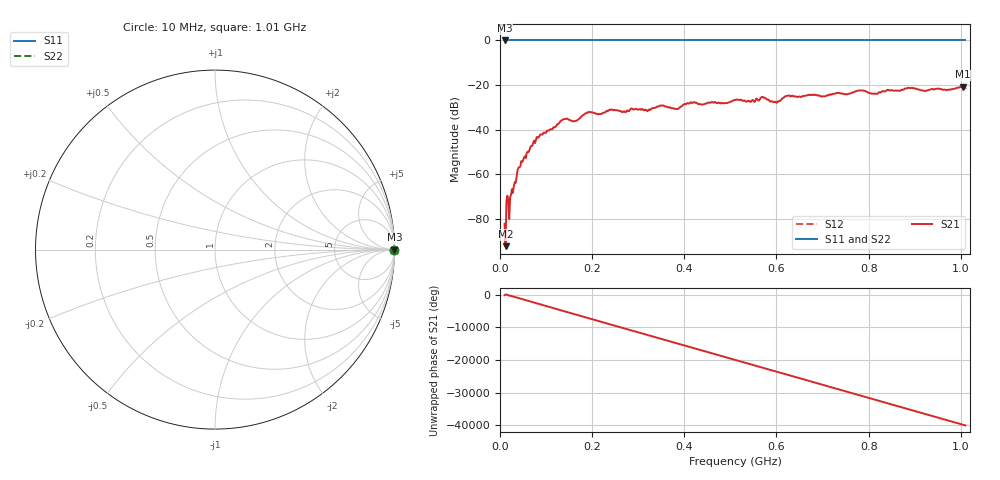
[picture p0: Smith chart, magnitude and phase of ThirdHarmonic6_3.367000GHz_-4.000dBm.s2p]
! 8/17/2025 10:40:04 AM
! C:\ANRITSUVNA\TEMP\TEMP.S2P
! CHANNEL.1
! TR.MEASUREMENT
! RAW.DATA
! RF.CORRECTION.OFF
! AVERAGING.OFF
! IF.BANDWIDTH: 5KHZ
! SWEEPTYPE:  FREQ.SWEEP(Linear)
! Reference Plane Port Info
! PORT:  PORT1  PORT2
! DISTANCE:  0  m  0  m
! TIME:  0  s  0  s
! PHASE.OFFSET:  0  deg.  0  deg.
! LOSS:  0  dB  0  dB
! REF.LOSS:  0  dB  0  dB
! REF.FREQ:  0  Hz  0  Hz
! Power Info
! POWER:  -20  dBm  -20  dBm
! EFF.POWER:  -20  dBm  -20  dBm
! SOURCE.ATTEN:  0  dB  0  dB
! TEST.ATTEN:  0  dB  0  dB
# GHZ S RI R 50.0
! FREQ.GHZ  S11RE  S11IM  S21RE  S21IM  S12RE  S12IM  S22RE  S22IM
!; PortSelection: Port_12
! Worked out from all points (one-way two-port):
!   501 points, 10 MHz to 1.01 GHz, reference 50 ohm
!   highest |S21| = -20.78 dB at 1.004 GHz (marker M1); lowest = -92.2 dB at 12 MHz (marker M2)
!   lowest |S11| = 0.0 dB at 10 MHz (marker M3)
!   |S11| at or under -10 dB: nowhere
!   |S22| runs from 0.0 to 0.0 dB; largest |S21 - S12| = 1.1
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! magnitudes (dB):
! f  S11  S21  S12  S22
! 10 MHz  0.0  -82.2  0.0  0.0
! 12 MHz  0.0  -92.2  0.0  0.0
! 24 MHz  0.0  -69.1  0.0  0.0
! 26 MHz  0.0  -66.7  0.0  0.0
! 42 MHz  0.0  -56.8  0.0  0.0
! 76 MHz  0.0  -46.0  0.0  0.0
! 136 MHz  0.0  -35.5  0.0  0.0
! 162 MHz  0.0  -36.1  0.0  0.0
! 178 MHz  0.0  -33.8  0.0  0.0
! 194 MHz  0.0  -32.0  0.0  0.0
! 322 MHz  0.0  -31.3  0.0  0.0
! 344 MHz  0.0  -29.7  0.0  0.0
! 382 MHz  0.0  -30.7  0.0  0.0
! 410 MHz  0.0  -28.3  0.0  0.0
! 510 MHz  0.0  -26.7  0.0  0.0
! 570 MHz  0.0  -25.3  0.0  0.0
! 598 MHz  0.0  -27.5  0.0  0.0
! 624 MHz  0.0  -24.8  0.0  0.0
! 678 MHz  0.0  -24.4  0.0  0.0
! 844 MHz  0.0  -22.3  0.0  0.0
! 1.004 GHz  0.0  -20.8  0.0  0.0
! 1.01 GHz  0.0  -21.4  0.0  0.0
